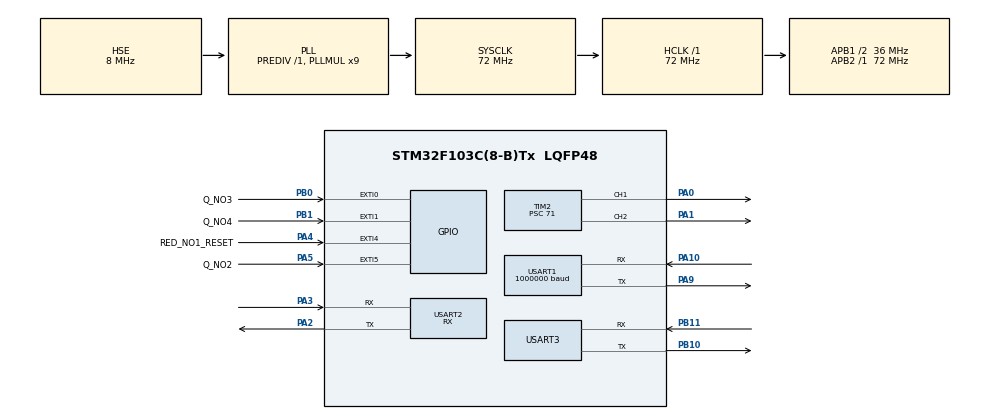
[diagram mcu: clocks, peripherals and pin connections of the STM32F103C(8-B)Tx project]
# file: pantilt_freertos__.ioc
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Mcu.Family=STM32F1
Mcu.Name=STM32F103C(8-B)Tx
Mcu.Package=LQFP48
NVIC.EXTI0_IRQn=true\:0\:0\:false\:false\:true\:true\:true\:true
NVIC.EXTI1_IRQn=true\:0\:0\:false\:false\:true\:true\:true\:true
NVIC.EXTI4_IRQn=true\:0\:0\:false\:false\:true\:true\:true\:true
NVIC.EXTI9_5_IRQn=true\:0\:0\:false\:false\:true\:true\:true\:true
NVIC.PriorityGroup=NVIC_PRIORITYGROUP_4
NVIC.TIM3_IRQn=true\:0\:0\:false\:false\:true\:true\:true\:true
NVIC.TIM4_IRQn=true\:0\:0\:false\:false\:true\:true\:true\:true
NVIC.USART2_IRQn=true\:0\:0\:false\:false\:true\:true\:true\:true
NVIC.USART3_IRQn=true\:0\:0\:false\:false\:true\:true\:true\:true
PA0-WKUP.Signal=S_TIM2_CH1_ETR
PA1.Signal=S_TIM2_CH2
PA10.Mode=Asynchronous
PA10.Signal=USART1_RX
PA13.Mode=Serial_Wire
PA13.Signal=SYS_JTMS-SWDIO
PA14.Mode=Serial_Wire
PA14.Signal=SYS_JTCK-SWCLK
PA2.Mode=Asynchronous
PA2.Signal=USART2_TX
PA3.Mode=Asynchronous
PA3.Signal=USART2_RX
PA4.GPIO_Label=RED_NO1_RESET
PA4.GPIO_ModeDefaultEXTI=GPIO_MODE_IT_FALLING
PA4.GPIO_PuPd=GPIO_PULLUP
PA4.Signal=GPXTI4
PA5.GPIO_Label=Q_NO2
PA5.GPIO_ModeDefaultEXTI=GPIO_MODE_IT_FALLING
PA5.GPIO_PuPd=GPIO_PULLUP
PA5.Signal=GPXTI5
PA9.Mode=Asynchronous
PA9.Signal=USART1_TX
PB0.GPIO_Label=Q_NO3
PB0.GPIO_ModeDefaultEXTI=GPIO_MODE_IT_FALLING
PB0.GPIO_PuPd=GPIO_PULLUP
PB0.Signal=GPXTI0
PB1.GPIO_Label=Q_NO4
PB1.GPIO_ModeDefaultEXTI=GPIO_MODE_IT_FALLING
PB1.GPIO_PuPd=GPIO_PULLDOWN
PB1.Signal=GPXTI1
PB10.Mode=Asynchronous
PB10.Signal=USART3_TX
PB11.Mode=Asynchronous
PB11.Signal=USART3_RX
PD0-OSC_IN.Mode=HSE-External-Oscillator
PD0-OSC_IN.Signal=RCC_OSC_IN
PD1-OSC_OUT.Mode=HSE-External-Oscillator
PD1-OSC_OUT.Signal=RCC_OSC_OUT
ProjectManager.HeapSize=0x200
ProjectManager.StackSize=0x400
ProjectManager.TargetToolchain=Makefile
RCC.AHBFreq_Value=72000000
RCC.APB1CLKDivider=RCC_HCLK_DIV2
RCC.APB1Freq_Value=36000000
RCC.APB1TimFreq_Value=72000000
RCC.APB2Freq_Value=72000000
RCC.APB2TimFreq_Value=72000000
RCC.HCLKFreq_Value=72000000
RCC.PLLMUL=RCC_PLL_MUL9
RCC.PLLSourceVirtual=RCC_PLLSOURCE_HSE
RCC.SYSCLKFreq_VALUE=72000000
RCC.SYSCLKSource=RCC_SYSCLKSOURCE_PLLCLK
RCC.USBFreq_Value=72000000
SH.S_TIM2_CH1_ETR.0=TIM2_CH1,PWM Generation1 CH1
SH.S_TIM2_CH2.0=TIM2_CH2,PWM Generation2 CH2
TIM2.Channel-PWM\ Generation1\ CH1=TIM_CHANNEL_1
TIM2.Channel-PWM\ Generation2\ CH2=TIM_CHANNEL_2
TIM2.Period=99
TIM2.Prescaler=71
TIM3.Period=999
TIM3.Prescaler=71
TIM4.Period=9999
TIM4.Prescaler=71
USART1.BaudRate=1000000
USART1.VirtualMode=VM_ASYNC
USART2.Mode=MODE_RX
USART2.VirtualMode=VM_ASYNC
USART3.VirtualMode=VM_ASYNC
VP_TIM2_VS_ClockSourceINT.Mode=Internal
VP_TIM3_VS_ClockSourceINT.Mode=Internal
VP_TIM4_VS_ClockSourceINT.Mode=Internal
board=custom

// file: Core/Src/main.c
/* USER CODE BEGIN Header */
/**
  ******************************************************************************
  * @file           : main.c
  * @brief          : Main program body
  ******************************************************************************
  * @attention
  *
  * Copyright (c) 2025 STMicroelectronics.
  * All rights reserved.
  *
  * This software is licensed under terms that can be found in the LICENSE file
  * in the root directory of this software component.
  * If no LICENSE file comes with this software, it is provided AS-IS.
  *
  ******************************************************************************
  */
/* USER CODE END Header */
#include "main.h"
#include "tim.h"
#include "usart.h"
#include "gpio.h"

/* USER CODE BEGIN Includes */
#include "head.h"
/* USER CODE END Includes */

/* USER CODE BEGIN PV */
#define DISTANCE 1000 //???????? ??mm
#define PI 3.141592
#define ANGLE_MAXIMUM_UP 160  //?????????????4095???
#define ANGLE_MAXIMUM_DOWN 300  // ?????????????4095???
#define ANGLE_MAXIMUM_LEFT 400  //?????????????4095???
#define ANGLE_MAXIMUM_RIGHT 400  // ?????????????4095???

/*????*/
__IO uint8_t Reset;
/*??*/
__IO uint8_t Q_NO;

/***target from openmv***/
#ifdef GREEN
//uint8_t Rxbuffer[16];
#endif
#ifdef RED
uint8_t dot1x,dot1y,dot2x,dot2y,dot3x,dot3y,dot4x,dot4y;
int16_t tar_pos1,tar_pos2;
#endif
uint8_t red_x,red_y;
uint8_t green_x, green_y;

/***Feedback Data***/

/*spe_*/
int16_t spe1;
int16_t spe2;

__IO uint8_t gpio_interupt=0;
PID_t pid_x, pid_y;
/* USER CODE END PV */

void SystemClock_Config(void);

int main(void)
{

  /* MCU Configuration--------------------------------------------------------*/

  /* Reset of all peripherals, Initializes the Flash interface and the Systick. */
  HAL_Init();

  /* Configure the system clock */
  SystemClock_Config();

  /* Initialize all configured peripherals */
  MX_GPIO_Init();
  MX_TIM2_Init();
  MX_USART1_UART_Init();
  MX_USART2_UART_Init();
  MX_USART3_UART_Init();
  MX_TIM3_Init();
  MX_TIM4_Init();
  /* USER CODE BEGIN 2 */
  HAL_UART_Receive_IT(&huart2,Rxbuffer,16);
  HAL_TIM_Base_Start(&htim2);
  HAL_TIM_PWM_Start(&htim2, TIM_CHANNEL_1);
  HAL_TIM_PWM_Start(&htim2, TIM_CHANNEL_2);
  __HAL_TIM_SET_COMPARE(&htim2, TIM_CHANNEL_1, 20); // arr=100/越尝越亮
  __HAL_TIM_SET_COMPARE(&htim2, TIM_CHANNEL_2, 80); // arr=100
  HAL_TIM_Base_Start_IT(&htim4);
  HAL_TIM_Base_Start_IT(&htim3);

  WheelMode(1, 0); // 模弝0：佝置模�? 模弝1：杒速； 模弝2：pwm调�?�；模弝3：步�?
  WheelMode(2, 0); // 模弝0：佝置模�? 模弝1：杒速； 模弝2：pwm调�?�；模弝3：步�?
  WriteSpe(1, 0, 0);
  WriteSpe(2, 0, 0);
  Q_NO = 1;
  //pid_init(&pid_x, 15, 0, 0.1);
  //pid_init(&pid_y, 20, 0.2, 0.1);//for red  y is ok but x....
  pid_init(&pid_x, 10, 0.0, 0.0);
  pid_init(&pid_y, 10, 0.0, 0.0);
#define pi 3.14159
  /* USER CODE END 2 */

  /* Infinite loop */
  /* USER CODE BEGIN WHILE */
  while (1)
  {

    #ifdef RED
        if(Q_NO==1)
        {
            /*past??reset???*/
            WheelMode(1, 0);
            WheelMode(2, 0);
            WritePosEx(1, 2210, 1000, 50); // red:1:2350;2:2200
            WritePosEx(2, 2725, 1000, 50); // 复位操作,红光no1
        }
        else if (Q_NO==2)
        {
            /* ???????? */
            WheelMode(1, 0);
            WheelMode(2, 0);
            uint16_t square_size=139;        //???????????
            tar_pos1=2350-square_size;
            tar_pos2=2200+150;
            WritePosEx(1, tar_pos1, 1000, 50);
            WritePosEx(2, tar_pos2, 1000, 50);
            HAL_Delay(3000);
            tar_pos1=2350+square_size;
            tar_pos2=2200+150;
            WritePosEx(1, tar_pos1, 1000, 50);
            WritePosEx(2, tar_pos2, 1000, 50);
            HAL_Delay(3000);
            tar_pos1=2350+square_size;
            tar_pos2=2200-28;
            WritePosEx(1, tar_pos1, 1000, 50);
            WritePosEx(2, tar_pos2, 1000, 50);
            HAL_Delay(3000);
            tar_pos1=2350-square_size;
            tar_pos2=2200-28;
            WritePosEx(1, tar_pos1, 1000, 50);
            WritePosEx(2, tar_pos2, 1000, 50);
            HAL_Delay(3000);
            tar_pos1=2350-square_size;
            tar_pos2=2200+150;
            WritePosEx(1, tar_pos1, 1000, 50);
            WritePosEx(2, tar_pos2, 1000, 50);
            HAL_Delay(3000);
        }
        else if (Q_NO>=3)       //???3?4????
        {
            if(Reset==0)
            {
                for(uint8_t j=0;j<N;j++)
                {
                    dot_cal_x[j]=1.0*j/N*dot2x+1.0*(N-j)/N*dot1x;
                    dot_cal_y[j]=1.0*j/N*dot2y+1.0*(N-j)/N*dot1y;
                }
                for(uint8_t j=0;j<N;j++)
                {
                    dot_cal_x[j+N]=1.0*j/N*dot3x+1.0*(N-j)/N*dot2x;
                    dot_cal_y[j+N]=1.0*j/N*dot3y+1.0*(N-j)/N*dot2y;
                }
                for(uint8_t j=0;j<N;j++)
                {
                    dot_cal_x[j+2*N]=1.0*j/N*dot4x+1.0*(N-j)/N*dot3x;
                    dot_cal_y[j+2*N]=1.0*j/N*dot4y+1.0*(N-j)/N*dot3y;
                }
                for(uint8_t j=0;j<N;j++)
                {
                    dot_cal_x[j+3*N]=1.0*j/N*dot1x+1.0*(N-j)/N*dot4x;
                    dot_cal_y[j+3*N]=1.0*j/N*dot1y+1.0*(N-j)/N*dot4y;
                }
                Reset = 1;
            }
            WheelMode(1, 1);
            WheelMode(2, 1);
            static uint16_t state=0;
            uint16_t pos_x       = ReadPos(1);
            float angle_cos      = cos(2 * pi / 4095 * abs(pos_x - 2350));
            // if (abs(red_x - 80) > 40) {
            //     pid_init(&pid_x, 10, 0.06, 0.0);
            // } else {
            //     pid_init(&pid_x, 25, 0.06, 0.01);
            // }
            speedServo(dot_cal_x[state], red_x, &pid_x);
            speedServo(dot_cal_y[state], red_y, &pid_y);
            WriteSpe(1, -1 * pid_x.output * angle_cos, 100);
            WriteSpe(2, pid_y.output, 50);
            //WriteSpe(1, 100, 50);
            //WriteSpe(2, 100, 50);
            printf("%f,%f,%f,%f,%f,%f\n", (float)dot_cal_x[state], (float)red_x, (float)dot_cal_y[state], (float)red_y, pid_x.output,angle_cos);
            state++;
            if (state == 4 * N) state = 0;
               /* if(state%N<0.2*N)
                {
                  // if(state==0){
                  //     pid_init(&pid_x,  10, 0.02, 0.01);
                  //     pid_init(&pid_y, 10 , 0.02, 0.01);
                  // }
                  // if (state == N) {
                  //     pid_init(&pid_x, 14 , 0.02, 0.01);//x波动小
                  //     pid_init(&pid_y, 5 , 0.02, 0.01);
                  // }
                  // if (state == 2*N) {
                  //     pid_init(&pid_x, 10 , 0.02, 0.01);
                  //     pid_init(&pid_y, 8 , 0.02, 0.01);
                  // }
                  // if (state == 3*N) {
                  //     pid_init(&pid_x, 10 , 0.02, 0.01);
                  //     pid_init(&pid_y, 5 , 0.02, 0.01);
                  // }
                  pid_init(&pid_x, 26, 0.04, 0.1);
                  //pid_init(&pid_y, 3 , 0.0, 0.05);
                  //printf("%d\n", state);
                  //HAL_Delay(10);
                }else
                {
                    pid_init(&pid_x, 15, 0.06, 0.2);                    //pid_init(&pid_y, 3 , 0.0, 0.05);
                }*/

                HAL_Delay(25);
        }

    #endif
    #ifdef GREEN
        if (Q_NO == 1) {
            /*past??reset???*/
            WheelMode(1, 0);
            WheelMode(2, 0);
            WritePosEx(1, 2210, 1000, 50); // red:1:2350;2:2200
            WritePosEx(2, 2725, 1000, 50); // 复位操作,红光no1
        } else if (Q_NO == 4) {
            WheelMode(1, 1);
            WheelMode(2, 1);
            speedServo(red_x, green_x,&pid_x);
            speedServo(red_y,green_y ,&pid_y);
            WriteSpe(1, -1 * pid_x.output ,50);
            WriteSpe(2, pid_y.output, 50);
        }
        printf("%f,%f,%f,%f\n", (float)red_x, (float)green_x, (float)red_y, (float)green_y);

#endif // DEBUG
    //HAL_Delay(1);
  }
    /* USER CODE END WHILE */

}

void SystemClock_Config(void)
{
  RCC_OscInitTypeDef RCC_OscInitStruct = {0};
  RCC_ClkInitTypeDef RCC_ClkInitStruct = {0};

  /** Initializes the RCC Oscillators according to the specified parameters
  * in the RCC_OscInitTypeDef structure.
  */
  RCC_OscInitStruct.OscillatorType = RCC_OSCILLATORTYPE_HSE;
  RCC_OscInitStruct.HSEState = RCC_HSE_ON;
  RCC_OscInitStruct.HSEPredivValue = RCC_HSE_PREDIV_DIV1;
  RCC_OscInitStruct.HSIState = RCC_HSI_ON;
  RCC_OscInitStruct.PLL.PLLState = RCC_PLL_ON;
  RCC_OscInitStruct.PLL.PLLSource = RCC_PLLSOURCE_HSE;
  RCC_OscInitStruct.PLL.PLLMUL = RCC_PLL_MUL9;
  if (HAL_RCC_OscConfig(&RCC_OscInitStruct) != HAL_OK)
  {
    Error_Handler();
  }

  /** Initializes the CPU, AHB and APB buses clocks
  */
  RCC_ClkInitStruct.ClockType = RCC_CLOCKTYPE_HCLK|RCC_CLOCKTYPE_SYSCLK
                              |RCC_CLOCKTYPE_PCLK1|RCC_CLOCKTYPE_PCLK2;
  RCC_ClkInitStruct.SYSCLKSource = RCC_SYSCLKSOURCE_PLLCLK;
  RCC_ClkInitStruct.AHBCLKDivider = RCC_SYSCLK_DIV1;
  RCC_ClkInitStruct.APB1CLKDivider = RCC_HCLK_DIV2;
  RCC_ClkInitStruct.APB2CLKDivider = RCC_HCLK_DIV1;

  if (HAL_RCC_ClockConfig(&RCC_ClkInitStruct, FLASH_LATENCY_2) != HAL_OK)
  {
    Error_Handler();
  }
}

/* USER CODE BEGIN 4 */

void HAL_GPIO_EXTI_Callback(uint16_t GPIO_Pin)
{
    if (GPIO_Pin == RED_NO1_RESET_Pin) // ????
    // ?? ????no1
    {
        gpio_interupt = 1;
        Reset = 1;
        Q_NO  = 1;

    }
#ifdef RED

    if (GPIO_Pin == Q_NO2_Pin) // ????
    {
        gpio_interupt = 1;

        Q_NO  = 2;

    }
    if (GPIO_Pin == Q_NO3_Pin) // ????
    {
        gpio_interupt = 1;

        Q_NO  = 3;

        // U_Transmit(3);
    }
#endif
#ifdef GREEN
    if (GPIO_Pin == Q_NO4_Pin) // ????
    {
        gpio_interupt = 1;

        Q_NO  = 4;

        // U_Transmit(4);
    }
#endif
}
/* USER CODE END 4 */

void Error_Handler(void)
{
  __disable_irq();
  while (1)
  {
  }
}
